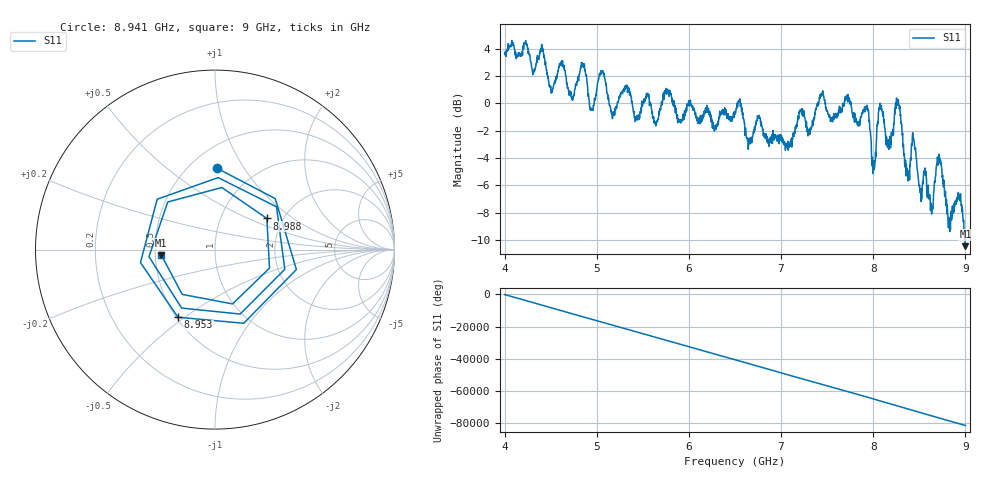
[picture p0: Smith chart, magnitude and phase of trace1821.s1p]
! Created with skrf 1.8.0 (http://scikit-rf.org).
# Hz S RI R 50.0
!freq ReS11 ImS11
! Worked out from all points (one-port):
!   1601 points, 4 GHz to 9 GHz, reference 50 ohm
!   lowest |S11| = -10.4 dB at 9 GHz (marker M1), VSWR 1.86, Z = 26.9 - j1.76 ohm
!   |S11| at or under -10 dB: 8.994619 GHz to end of sweep
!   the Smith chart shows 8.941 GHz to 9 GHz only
!   S11 on the Smith chart (normalised r, x): 8.941 GHz: 0.67, +0.77; 8.953 GHz: 0.51, -0.47; 8.988 GHz: 1.65, +0.65; 9 GHz: 0.54, -0.04
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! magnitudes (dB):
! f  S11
! 4 GHz  3.6
! 4.406 GHz  4.0
! 4.506 GHz  0.8
! 4.625 GHz  2.7
! 4.731 GHz  0.3
! 4.853 GHz  2.9
! 4.944 GHz  -0.5
! 5.053 GHz  2.4
! 5.169 GHz  -1.1
! 5.25 GHz  0.6
! 5.875 GHz  -0.8
! 6.5 GHz  -0.7
! 7.125 GHz  -2.6
! 7.75 GHz  0.1
! 7.928 GHz  -0.2
! 8.006 GHz  -4.8
! 8.072 GHz  -0.1
! 8.169 GHz  -3.4
! 8.266 GHz  0.0
! 8.375 GHz  -5.3
! 8.438 GHz  -2.6
! 8.625 GHz  -7.3
! 8.712 GHz  -3.7
! 8.825 GHz  -8.5
! 8.941 GHz  -6.9
! 8.953 GHz  -7.3
! 8.988 GHz  -9.4
! 9 GHz  -10.4
